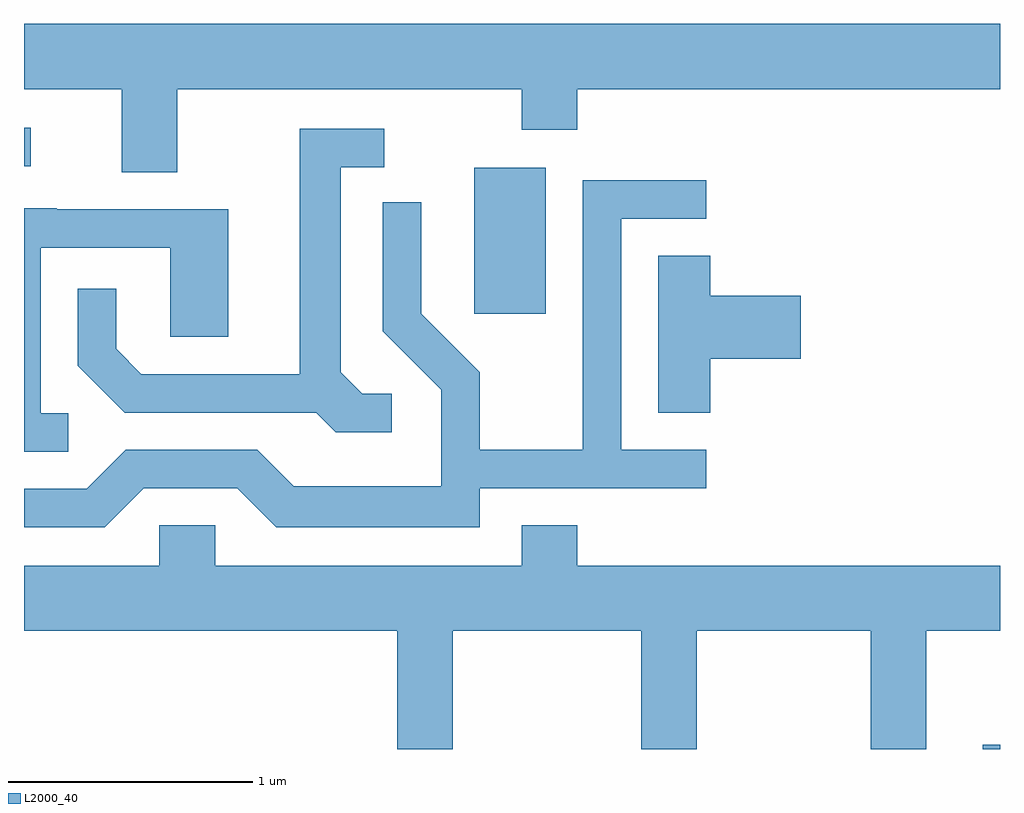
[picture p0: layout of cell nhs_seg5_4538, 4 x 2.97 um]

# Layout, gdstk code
import gdstk
lib = gdstk.Library(unit=1e-6, precision=1e-09)
def R(c, l, rs):  # rectangles x0, y0, x1, y1
    for r in rs: c.add(gdstk.rectangle(r[:2], r[2:], *l))
def P(c, l, *ps):  # polygons
    for p in ps: c.add(gdstk.Polygon(p, *l))
L2000_40 = (2000, 40)

nhs_seg5_4538 = lib.new_cell('nhs_seg5_4538')
R(nhs_seg5_4538, L2000_40, [(323.541,1474.072,323.611,1474.089), (321.456,1475.856,321.749,1476.454), (319.611,1476.461,319.638,1476.619)])
P(nhs_seg5_4538, L2000_40, [(320.239,1476.776),(321.651,1476.776),(321.651,1476.611),(321.879,1476.611),(321.879,1476.776),(323.611,1476.776),(323.611,1477.044),(319.611,1477.044),(319.611,1476.776),(320.011,1476.776),(320.011,1476.436),(320.239,1476.436)],
  [(321.118,1475.529),(320.997,1475.529),(320.909,1475.617),(320.909,1476.456),(321.088,1476.456),(321.088,1476.614),(320.741,1476.614),(320.741,1475.609),(320.092,1475.609),(319.989,1475.712),(319.989,1475.958),(319.831,1475.958),(319.831,1475.644),(320.024,1475.451),(320.809,1475.451),(320.889,1475.371),(321.118,1475.371)],
  [(320.102,1475.141),(320.484,1475.141),(320.644,1474.981),(321.479,1474.981),(321.479,1475.141),(322.408,1475.141),(322.408,1475.299),(322.059,1475.299),(322.059,1476.246),(322.408,1476.246),(322.408,1476.404),(321.901,1476.404),(321.901,1475.299),(321.479,1475.299),(321.479,1475.617),(321.239,1475.857),(321.239,1476.313),(321.081,1476.313),(321.081,1475.784),(321.321,1475.544),(321.321,1475.149),(320.717,1475.149),(320.567,1475.299),(320.029,1475.299),(319.869,1475.139),(319.611,1475.139),(319.611,1474.981),(319.942,1474.981)],
  [(319.793,1475.449),(319.679,1475.449),(319.679,1476.126),(320.211,1476.126),(320.211,1475.761),(320.449,1475.761),(320.449,1476.284),(319.745,1476.284),(319.745,1476.289),(319.611,1476.289),(319.611,1475.291),(319.793,1475.291)],
  [(322.424,1475.671),(322.794,1475.671),(322.794,1475.929),(322.424,1475.929),(322.424,1476.094),(322.211,1476.094),(322.211,1475.451),(322.424,1475.451)],
  [(321.369,1474.556),(322.141,1474.556),(322.141,1474.072),(322.369,1474.072),(322.369,1474.556),(323.081,1474.556),(323.081,1474.072),(323.309,1474.072),(323.309,1474.556),(323.611,1474.556),(323.611,1474.824),(321.879,1474.824),(321.879,1474.989),(321.651,1474.989),(321.651,1474.824),(320.394,1474.824),(320.394,1474.989),(320.166,1474.989),(320.166,1474.824),(319.611,1474.824),(319.611,1474.556),(321.141,1474.556),(321.141,1474.072),(321.369,1474.072)])

lib.write_gds('nhs_seg5_4538.gds')
